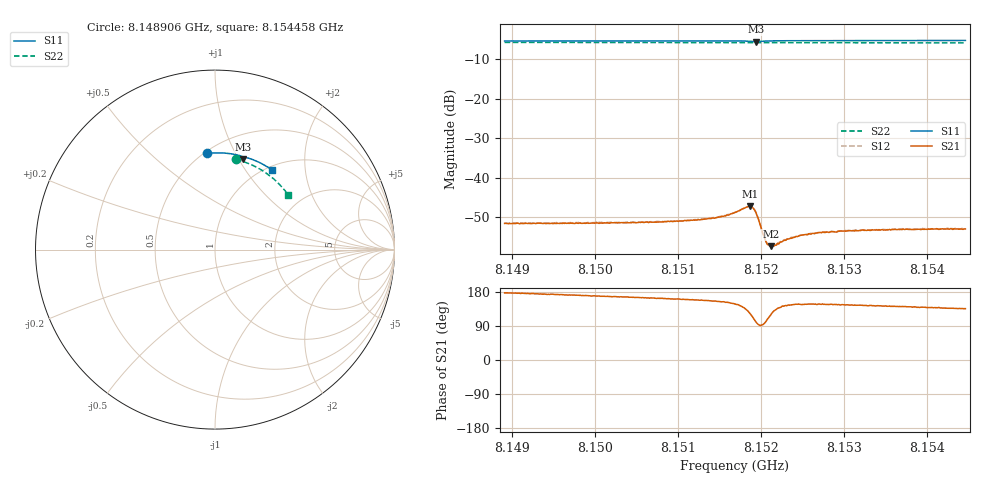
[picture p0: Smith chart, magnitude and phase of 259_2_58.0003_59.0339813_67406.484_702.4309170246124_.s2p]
#  HZ  S  RI  R  50.00
! Rohde & Schwarz Vector Network Analyzer
! Rohde-Schwarz,ZNB20-2Port,1311601062101988,3.16
! Created: UTC 3/21/2024, 1:01:54 AM
! freq[Hz]  re:S11  im:S11  re:S21  im:S21  re:S12  im:S12  re:S22  im:S22
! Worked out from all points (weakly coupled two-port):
!   401 points, 8.148906 GHz to 8.154458 GHz, reference 50 ohm
!   highest |S21| = -47.29 dB at 8.151862 GHz (marker M1); lowest = -57.3 dB at 8.152112 GHz (marker M2)
!   lowest |S11| = -5.5 dB at 8.151932 GHz (marker M3), VSWR 3.24, Z = 37.3 + j52.2 ohm
!   |S11| at or under -10 dB: nowhere
!   |S22| runs from -5.9 to -5.7 dB; largest |S21 - S12| = 0.00013
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8.1489064e9  -0.0467 0.5359  -0.00263 0.000134  -0.00267 0.000143  0.1172 0.5025
8.1498362e9  0.0182 0.5393  -0.0026 0.000472  -0.00263 0.000493  0.1749 0.4846
8.1507661e9  0.083 0.5345  -0.00261 0.000817  -0.00265 0.000863  0.2298 0.4598
8.1510853e9  0.1054 0.5311  -0.00269 0.000996  -0.00269 0.00102  0.248 0.4498
8.1514183e9  0.1291 0.5261  -0.00282 0.00127  -0.00281 0.00133  0.2663 0.4387
8.1515433e9  0.1382 0.5234  -0.00291 0.00143  -0.0029 0.00154  0.2732 0.4343
8.151682e9  0.1488 0.5194  -0.00306 0.00192  -0.00306 0.00197  0.2806 0.4292
8.1518208e9  0.1585 0.5114  -0.00288 0.00311  -0.00284 0.00317  0.2878 0.424
8.1518625e9  0.1593 0.5077  -0.00234 0.00363  -0.00232 0.00368  0.2898 0.4223
8.1519041e9  0.1577 0.5051  -0.0014 0.00384  -0.00138 0.00391  0.2917 0.4209
8.1519318e9  0.1562 0.5051  -0.000706 0.00359  -0.000631 0.00364  0.2932 0.4197
8.1519596e9  0.1553 0.5066  -0.000233 0.00307  -0.000208 0.00309  0.2944 0.4189
8.1520429e9  0.1594 0.5118  -0.000239 0.00166  -0.000214 0.00166  0.2988 0.4159
8.1520845e9  0.1631 0.5129  -0.000499 0.00131  -0.000493 0.00132  0.3011 0.4144
8.1521123e9  0.1656 0.5131  -0.000655 0.00119  -0.000671 0.00118  0.3025 0.4136
8.1521539e9  0.1694 0.5131  -0.000881 0.00105  -0.000841 0.00107  0.3047 0.4118
8.152251e9  0.1772 0.5119  -0.00123 0.000948  -0.00121 0.00101  0.3097 0.4078
8.1523759e9  0.1865 0.5095  -0.00144 0.000972  -0.00145 0.000991  0.3159 0.4029
8.1526119e9  0.203 0.504  -0.00166 0.00106  -0.00165 0.00108  0.3275 0.3934
8.1530421e9  0.2313 0.4927  -0.00175 0.0012  -0.00174 0.00125  0.3477 0.3746
8.1535417e9  0.2627 0.4777  -0.00175 0.00135  -0.00173 0.00136  0.3699 0.3518
8.1544577e9  0.3171 0.4449  -0.0016 0.00157  -0.00161 0.0016  0.4064 0.3069
